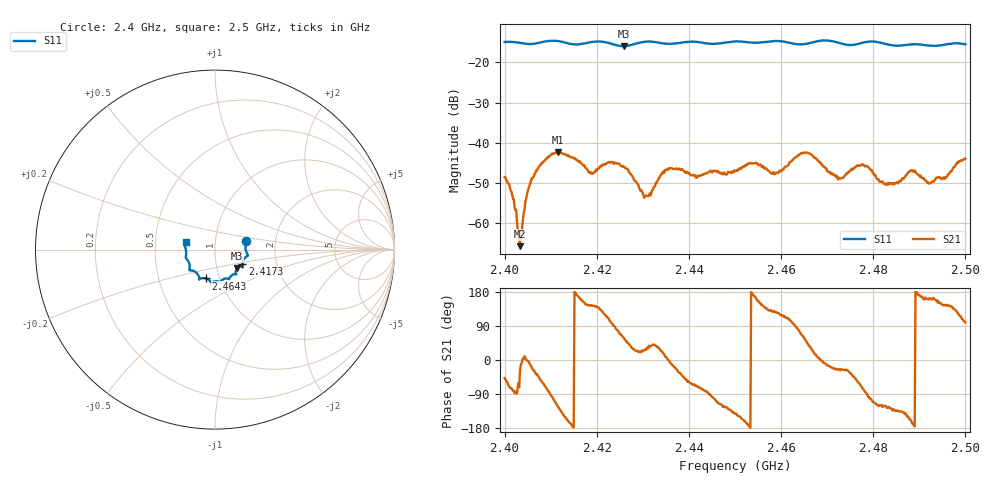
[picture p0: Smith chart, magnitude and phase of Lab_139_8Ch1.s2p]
# Hz S RI R 50
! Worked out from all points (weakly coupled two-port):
!   601 points, 2.4 GHz to 2.5 GHz, reference 50 ohm
!   highest |S21| = -42.40 dB at 2.4117 GHz (marker M1); lowest = -65.8 dB at 2.4033 GHz (marker M2)
!   lowest |S11| = -15.9 dB at 2.4258 GHz (marker M3), VSWR 1.38, Z = 62.3 - j13.2 ohm
!   |S11| at or under -10 dB: start of sweep to end of sweep
!   S12 and S22 are empty: the file has one direction only
!   S11 on the Smith chart (normalised r, x): 2.4 GHz: 1.41, +0.14; 2.4173 GHz: 1.34, -0.23; 2.4643 GHz: 0.86, -0.28; 2.5 GHz: 0.72, +0.06
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2.4e9  0.1733 0.0496  0.00249 -0.00276  0 0  0 0
2.4015e9  0.1757 0.0437  0.000658 -0.00232  0 0  0 0
2.403333e9  0.173 0.032  0.000449 -0.000243  0 0  0 0
2.406e9  0.1705 0.00102  0.00328 -0.00137  0 0  0 0
2.411667e9  0.1815 -0.0356  -0.00436 -0.0062  0 0  0 0
2.416667e9  0.1528 -0.0744  -0.00516 0.00197  0 0  0 0
2.417333e9  0.1523 -0.0818  -0.00452 0.00255  0 0  0 0
2.425833e9  0.1215 -0.1037  0.00257 0.00425  0 0  0 0
2.430667e9  0.1189 -0.1376  0.00197 0.000968  0 0  0 0
2.433333e9  0.113 -0.1367  0.00293 0.00188  0 0  0 0
2.436e9  0.0941 -0.1429  0.00474 -0.000693  0 0  0 0
2.45e9  0.0296 -0.1809  -0.00343 -0.0027  0 0  0 0
2.454167e9  0.00885 -0.1761  -0.00542 0.0011  0 0  0 0
2.459e9  -0.0215 -0.1843  -0.00249 0.00344  0 0  0 0
2.464333e9  -0.0502 -0.1606  0.00265 0.0069  0 0  0 0
2.466667e9  -0.0763 -0.1599  0.0062 0.00321  0 0  0 0
2.472667e9  -0.0896 -0.15  0.00327 -0.0015  0 0  0 0
2.478e9  -0.1352 -0.1162  0.000914 -0.00507  0 0  0 0
2.483333e9  -0.1408 -0.0895  -0.00166 -0.00249  0 0  0 0
2.4885e9  -0.1616 -0.0484  -0.00442 -0.000911  0 0  0 0
2.492667e9  -0.1607 -0.0175  -0.00299 0.0011  0 0  0 0
2.5e9  -0.1635 0.0422  -0.001 0.00619  0 0  0 0
